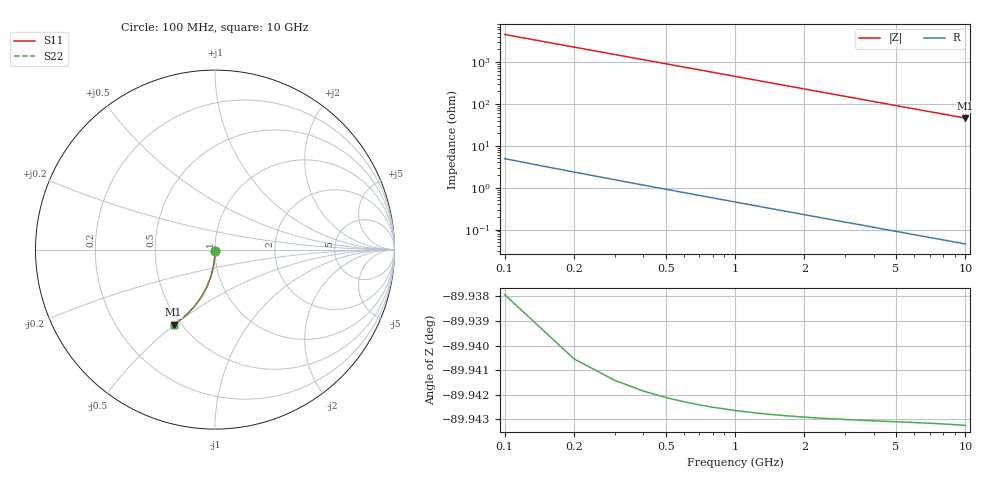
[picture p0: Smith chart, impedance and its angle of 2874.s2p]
# Hz S RI R 50.00
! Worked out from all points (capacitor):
!   100 points, 100 MHz to 10 GHz, reference 50 ohm
!   read as one part in shunt: C = 350 fF near 100 MHz
!   lowest |Z| = 45.8 ohm at 10 GHz (marker M1)
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1e8  -2.7e-05 -0.00547  1 -0.00553  1 -0.00553  -2.7e-05 -0.00547
2e8  -0.000123 -0.0109  0.9999 -0.0111  0.9999 -0.0111  -0.000123 -0.0109
3e8  -0.00028 -0.0164  0.9997 -0.0166  0.9997 -0.0166  -0.00028 -0.0164
4e8  -0.000497 -0.0219  0.9995 -0.0221  0.9995 -0.0221  -0.000497 -0.0219
5e8  -0.000774 -0.0273  0.9992 -0.0276  0.9992 -0.0276  -0.000774 -0.0273
6e8  -0.00111 -0.0328  0.9989 -0.0332  0.9989 -0.0332  -0.00111 -0.0328
7e8  -0.00151 -0.0382  0.9985 -0.0387  0.9985 -0.0387  -0.00151 -0.0382
8e8  -0.00197 -0.0437  0.998 -0.0442  0.998 -0.0442  -0.00197 -0.0437
9e8  -0.00248 -0.0491  0.9975 -0.0497  0.9975 -0.0497  -0.00248 -0.0491
1.1e9  -0.0037 -0.0599  0.9963 -0.0606  0.9963 -0.0606  -0.0037 -0.0599
1.4e9  -0.00596 -0.0761  0.994 -0.077  0.994 -0.077  -0.00596 -0.0761
1.8e9  -0.00978 -0.0974  0.9902 -0.0986  0.9902 -0.0986  -0.00978 -0.0974
2.1e9  -0.0133 -0.1132  0.9867 -0.1146  0.9867 -0.1146  -0.0133 -0.1132
2.5e9  -0.0186 -0.134  0.9813 -0.1356  0.9813 -0.1356  -0.0186 -0.134
2.9e9  -0.0249 -0.1544  0.9751 -0.1563  0.9751 -0.1563  -0.0249 -0.1544
3.4e9  -0.0339 -0.1793  0.9661 -0.1815  0.9661 -0.1815  -0.0339 -0.1793
4.2e9  -0.0507 -0.2175  0.9493 -0.2202  0.9493 -0.2202  -0.0507 -0.2175
5.1e9  -0.0728 -0.2577  0.9272 -0.261  0.9272 -0.261  -0.0728 -0.2577
5.9e9  -0.095 -0.2908  0.905 -0.2946  0.905 -0.2946  -0.095 -0.2908
6.7e9  -0.1191 -0.3212  0.8809 -0.3256  0.8809 -0.3256  -0.1191 -0.3212
8.4e9  -0.1748 -0.3766  0.8251 -0.3821  0.8251 -0.3821  -0.1748 -0.3766
1e10  -0.2305 -0.4174  0.7695 -0.424  0.7695 -0.424  -0.2305 -0.4174
